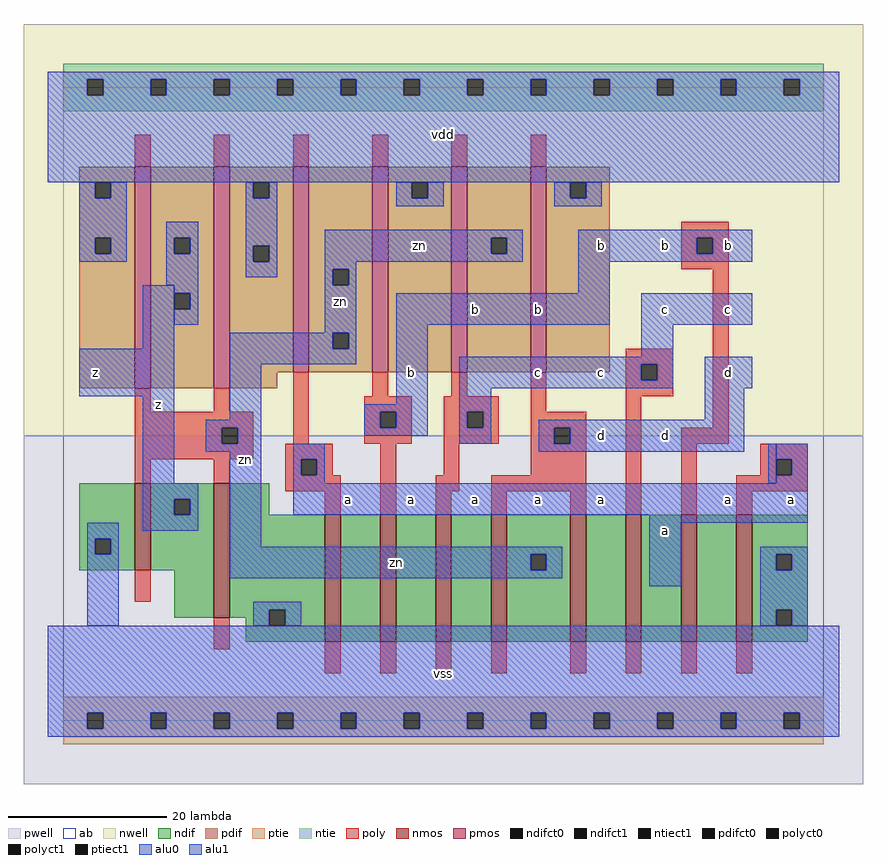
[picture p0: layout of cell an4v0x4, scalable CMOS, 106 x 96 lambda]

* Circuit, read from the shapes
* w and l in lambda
.subckt an4v0x4 a b c d vdd vss z zn
M1 z zn vss vss nfet w=11 l=2
M2 vss zn z vss nfet w=17 l=2
M3 n1 a vss vss nfet w=16 l=2
M4 n2 b n1 vss nfet w=16 l=2
M5 n3 c n2 vss nfet w=16 l=2
M6 zn d n3 vss nfet w=16 l=2
M7 n4 d zn vss nfet w=16 l=2
M8 n5 c n4 vss nfet w=16 l=2
M9 n6 b n5 vss nfet w=16 l=2
M10 vss a n6 vss nfet w=16 l=2
M11 z zn vdd vdd pfet w=28 l=2 m=2
M12 zn a vdd vdd pfet w=26 l=2
M13 vdd b zn vdd pfet w=26 l=2
M14 zn c vdd vdd pfet w=26 l=2
M15 vdd d zn vdd pfet w=26 l=2
.ends

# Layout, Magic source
magic
tech scmos
<< ab >>
rect 0 0 96 80
<< nwell >>
rect -5 36 101 88
<< pwell >>
rect -5 -8 101 36
<< poly >>
rect 9 70 11 74
rect 19 70 21 74
rect 29 70 31 74
rect 39 70 41 74
rect 49 70 51 74
rect 59 70 61 74
rect 78 61 84 63
rect 78 59 80 61
rect 82 59 84 61
rect 78 57 84 59
rect 71 45 77 47
rect 9 39 11 42
rect 19 39 21 42
rect 9 37 24 39
rect 9 35 20 37
rect 22 35 24 37
rect 29 35 31 44
rect 39 41 41 44
rect 49 41 51 44
rect 38 39 44 41
rect 38 37 40 39
rect 42 37 44 39
rect 38 35 44 37
rect 48 39 55 41
rect 48 37 51 39
rect 53 37 55 39
rect 48 35 55 37
rect 59 39 61 44
rect 71 43 73 45
rect 75 43 77 45
rect 71 41 77 43
rect 59 37 66 39
rect 59 35 62 37
rect 64 35 66 37
rect 9 33 24 35
rect 28 33 34 35
rect 9 30 11 33
rect 19 30 21 33
rect 28 31 30 33
rect 32 31 34 33
rect 9 15 11 19
rect 28 29 35 31
rect 33 26 35 29
rect 40 26 42 35
rect 48 31 50 35
rect 59 31 66 35
rect 47 29 50 31
rect 54 29 66 31
rect 47 26 49 29
rect 54 26 56 29
rect 64 26 66 29
rect 71 26 73 41
rect 82 37 84 57
rect 78 35 84 37
rect 78 26 80 35
rect 88 33 94 35
rect 88 31 90 33
rect 92 31 94 33
rect 85 29 94 31
rect 85 26 87 29
rect 19 9 21 13
rect 33 6 35 10
rect 40 6 42 10
rect 47 6 49 10
rect 54 6 56 10
rect 64 6 66 10
rect 71 6 73 10
rect 78 6 80 10
rect 85 6 87 10
<< ndif >>
rect 2 23 9 30
rect 2 21 4 23
rect 6 21 9 23
rect 2 19 9 21
rect 11 28 19 30
rect 11 26 14 28
rect 16 26 19 28
rect 11 19 19 26
rect 14 13 19 19
rect 21 26 26 30
rect 21 14 33 26
rect 21 13 26 14
rect 23 12 26 13
rect 28 12 33 14
rect 23 10 33 12
rect 35 10 40 26
rect 42 10 47 26
rect 49 10 54 26
rect 56 21 64 26
rect 56 19 59 21
rect 61 19 64 21
rect 56 10 64 19
rect 66 10 71 26
rect 73 10 78 26
rect 80 10 85 26
rect 87 21 94 26
rect 87 19 90 21
rect 92 19 94 21
rect 87 14 94 19
rect 87 12 90 14
rect 92 12 94 14
rect 87 10 94 12
<< pdif >>
rect 2 68 9 70
rect 2 66 4 68
rect 6 66 9 68
rect 2 61 9 66
rect 2 59 4 61
rect 6 59 9 61
rect 2 42 9 59
rect 11 61 19 70
rect 11 59 14 61
rect 16 59 19 61
rect 11 54 19 59
rect 11 52 14 54
rect 16 52 19 54
rect 11 42 19 52
rect 21 68 29 70
rect 21 66 24 68
rect 26 66 29 68
rect 21 60 29 66
rect 21 58 24 60
rect 26 58 29 60
rect 21 44 29 58
rect 31 57 39 70
rect 31 55 34 57
rect 36 55 39 57
rect 31 49 39 55
rect 31 47 34 49
rect 36 47 39 49
rect 31 44 39 47
rect 41 68 49 70
rect 41 66 44 68
rect 46 66 49 68
rect 41 44 49 66
rect 51 61 59 70
rect 51 59 54 61
rect 56 59 59 61
rect 51 44 59 59
rect 61 68 69 70
rect 61 66 64 68
rect 66 66 69 68
rect 61 44 69 66
rect 21 42 27 44
<< alu1 >>
rect -2 81 98 82
rect -2 79 3 81
rect 5 79 11 81
rect 13 79 19 81
rect 21 79 27 81
rect 29 79 35 81
rect 37 79 43 81
rect 45 79 51 81
rect 53 79 59 81
rect 61 79 67 81
rect 69 79 75 81
rect 77 79 83 81
rect 85 79 91 81
rect 93 79 98 81
rect -2 68 98 79
rect 65 61 87 62
rect 65 59 80 61
rect 82 59 87 61
rect 65 58 87 59
rect 10 47 14 55
rect 65 54 69 58
rect 2 41 14 47
rect 10 30 14 41
rect 42 50 69 54
rect 73 50 87 54
rect 42 40 46 50
rect 73 46 77 50
rect 38 39 46 40
rect 38 37 40 39
rect 42 37 46 39
rect 38 36 46 37
rect 50 45 77 46
rect 50 43 73 45
rect 75 43 77 45
rect 50 42 77 43
rect 81 42 87 46
rect 50 39 54 42
rect 50 37 51 39
rect 53 37 54 39
rect 81 38 86 42
rect 50 35 54 37
rect 60 37 86 38
rect 60 35 62 37
rect 64 35 86 37
rect 10 28 17 30
rect 10 26 14 28
rect 16 26 17 28
rect 10 24 17 26
rect 29 33 33 35
rect 60 34 86 35
rect 29 31 30 33
rect 32 31 33 33
rect 29 30 33 31
rect 90 33 94 35
rect 92 31 94 33
rect 90 30 94 31
rect 29 26 94 30
rect 74 25 94 26
rect 74 17 78 25
rect -2 1 98 12
rect -2 -1 3 1
rect 5 -1 11 1
rect 13 -1 19 1
rect 21 -1 27 1
rect 29 -1 35 1
rect 37 -1 43 1
rect 45 -1 51 1
rect 53 -1 59 1
rect 61 -1 67 1
rect 69 -1 75 1
rect 77 -1 83 1
rect 85 -1 91 1
rect 93 -1 98 1
rect -2 -2 98 -1
<< ptie >>
rect 0 1 96 3
rect 0 -1 3 1
rect 5 -1 11 1
rect 13 -1 19 1
rect 21 -1 27 1
rect 29 -1 35 1
rect 37 -1 43 1
rect 45 -1 51 1
rect 53 -1 59 1
rect 61 -1 67 1
rect 69 -1 75 1
rect 77 -1 83 1
rect 85 -1 91 1
rect 93 -1 96 1
rect 0 -3 96 -1
<< ntie >>
rect 0 81 96 83
rect 0 79 3 81
rect 5 79 11 81
rect 13 79 19 81
rect 21 79 27 81
rect 29 79 35 81
rect 37 79 43 81
rect 45 79 51 81
rect 53 79 59 81
rect 61 79 67 81
rect 69 79 75 81
rect 77 79 83 81
rect 85 79 91 81
rect 93 79 96 81
rect 0 77 96 79
<< nmos >>
rect 9 19 11 30
rect 19 13 21 30
rect 33 10 35 26
rect 40 10 42 26
rect 47 10 49 26
rect 54 10 56 26
rect 64 10 66 26
rect 71 10 73 26
rect 78 10 80 26
rect 85 10 87 26
<< pmos >>
rect 9 42 11 70
rect 19 42 21 70
rect 29 44 31 70
rect 39 44 41 70
rect 49 44 51 70
rect 59 44 61 70
<< polyct0 >>
rect 20 35 22 37
<< polyct1 >>
rect 80 59 82 61
rect 40 37 42 39
rect 51 37 53 39
rect 73 43 75 45
rect 62 35 64 37
rect 30 31 32 33
rect 90 31 92 33
<< ndifct0 >>
rect 4 21 6 23
rect 26 12 28 14
rect 59 19 61 21
rect 90 19 92 21
rect 90 12 92 14
<< ndifct1 >>
rect 14 26 16 28
<< ntiect1 >>
rect 3 79 5 81
rect 11 79 13 81
rect 19 79 21 81
rect 27 79 29 81
rect 35 79 37 81
rect 43 79 45 81
rect 51 79 53 81
rect 59 79 61 81
rect 67 79 69 81
rect 75 79 77 81
rect 83 79 85 81
rect 91 79 93 81
<< ptiect1 >>
rect 3 -1 5 1
rect 11 -1 13 1
rect 19 -1 21 1
rect 27 -1 29 1
rect 35 -1 37 1
rect 43 -1 45 1
rect 51 -1 53 1
rect 59 -1 61 1
rect 67 -1 69 1
rect 75 -1 77 1
rect 83 -1 85 1
rect 91 -1 93 1
<< pdifct0 >>
rect 4 66 6 68
rect 4 59 6 61
rect 14 59 16 61
rect 14 52 16 54
rect 24 66 26 68
rect 24 58 26 60
rect 34 55 36 57
rect 34 47 36 49
rect 44 66 46 68
rect 54 59 56 61
rect 64 66 66 68
<< alu0 >>
rect 2 66 4 68
rect 6 66 8 68
rect 2 61 8 66
rect 23 66 24 68
rect 26 66 27 68
rect 2 59 4 61
rect 6 59 8 61
rect 2 58 8 59
rect 13 61 17 63
rect 13 59 14 61
rect 16 59 17 61
rect 13 55 17 59
rect 23 60 27 66
rect 42 66 44 68
rect 46 66 48 68
rect 42 65 48 66
rect 62 66 64 68
rect 66 66 68 68
rect 62 65 68 66
rect 23 58 24 60
rect 26 58 27 60
rect 23 56 27 58
rect 33 61 58 62
rect 33 59 54 61
rect 56 59 58 61
rect 33 58 58 59
rect 33 57 37 58
rect 14 54 17 55
rect 16 52 17 54
rect 14 50 17 52
rect 33 55 34 57
rect 36 55 37 57
rect 33 49 37 55
rect 21 47 34 49
rect 36 47 37 49
rect 21 45 37 47
rect 21 38 25 45
rect 18 37 25 38
rect 18 35 20 37
rect 22 35 25 37
rect 18 34 25 35
rect 3 23 7 25
rect 3 21 4 23
rect 6 21 7 23
rect 3 12 7 21
rect 21 22 25 34
rect 89 30 90 35
rect 21 21 63 22
rect 21 19 59 21
rect 61 19 63 21
rect 21 18 63 19
rect 88 21 94 22
rect 88 19 90 21
rect 92 19 94 21
rect 24 14 30 15
rect 24 12 26 14
rect 28 12 30 14
rect 88 14 94 19
rect 88 12 90 14
rect 92 12 94 14
<< labels >>
rlabel alu0 23 33 23 33 6 zn
rlabel alu0 35 53 35 53 6 zn
rlabel alu0 42 20 42 20 6 zn
rlabel alu0 45 60 45 60 6 zn
rlabel alu1 12 40 12 40 6 z
rlabel alu1 4 44 4 44 6 z
rlabel alu1 48 6 48 6 6 vss
rlabel alu1 36 28 36 28 6 a
rlabel alu1 52 28 52 28 6 a
rlabel alu1 44 28 44 28 6 a
rlabel alu1 44 44 44 44 6 b
rlabel alu1 52 52 52 52 6 b
rlabel alu1 48 74 48 74 6 vdd
rlabel alu1 60 28 60 28 6 a
rlabel alu1 76 24 76 24 6 a
rlabel alu1 68 28 68 28 6 a
rlabel alu1 60 44 60 44 6 c
rlabel alu1 76 36 76 36 6 d
rlabel alu1 68 44 68 44 6 c
rlabel alu1 68 36 68 36 6 d
rlabel alu1 76 52 76 52 6 c
rlabel alu1 60 52 60 52 6 b
rlabel alu1 76 60 76 60 6 b
rlabel alu1 68 60 68 60 6 b
rlabel alu1 92 28 92 28 6 a
rlabel alu1 84 28 84 28 6 a
rlabel alu1 84 44 84 44 6 d
rlabel alu1 84 52 84 52 6 c
rlabel alu1 84 60 84 60 6 b
<< end >>
